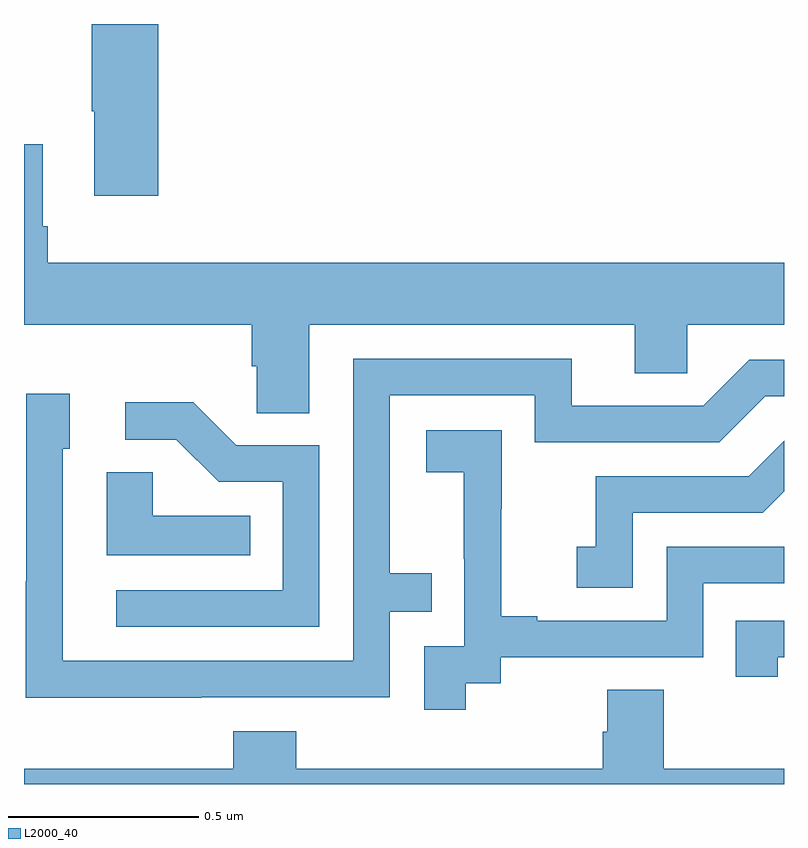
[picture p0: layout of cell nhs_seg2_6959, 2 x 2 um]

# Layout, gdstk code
import gdstk
lib = gdstk.Library(unit=1e-6, precision=1e-09)
def P(c, l, *ps):  # polygons
    for p in ps: c.add(gdstk.Polygon(p, *l))
L2000_40 = (2000, 40)

nhs_seg2_6959 = lib.new_cell('nhs_seg2_6959')
P(nhs_seg2_6959, L2000_40, [(198.353,609.8),(198.178,609.8),(198.178,609.571),(198.185,609.571),(198.185,609.348),(198.353,609.348)],
  [(198.751,609.008),(199.607,609.008),(199.607,608.881),(199.746,608.881),(199.746,609.008),(200,609.008),(200,609.172),(198.062,609.172),(198.062,609.268),(198.049,609.268),(198.049,609.484),(198,609.484),(198,609.008),(198.599,609.008),(198.599,608.899),(198.612,608.899),(198.612,608.776),(198.751,608.776)],
  [(198.467,608.028),(198.963,608.028),(198.963,608.253),(199.073,608.253),(199.073,608.354),(198.963,608.354),(198.963,608.823),(199.344,608.823),(199.344,608.7),(199.83,608.7),(199.95,608.82),(200,608.82),(200,608.916),(199.908,608.916),(199.788,608.796),(199.441,608.796),(199.441,608.919),(198.867,608.919),(198.867,608.124),(198.102,608.124),(198.102,608.682),(198.121,608.682),(198.121,608.827),(198.006,608.827),(198.006,608.333),(198.004,608.333),(198.004,608.027),(198.467,608.027)],
  [(198.777,608.691),(198.558,608.691),(198.445,608.804),(198.267,608.804),(198.267,608.706),(198.401,608.706),(198.512,608.595),(198.681,608.595),(198.681,608.31),(198.243,608.31),(198.243,608.214),(198.777,608.214)],
  [(199.162,608.065),(199.254,608.065),(199.254,608.133),(199.788,608.133),(199.788,608.328),(200,608.328),(200,608.424),(199.692,608.424),(199.692,608.229),(199.351,608.229),(199.351,608.242),(199.256,608.242),(199.256,608.525),(199.257,608.525),(199.257,608.731),(199.059,608.731),(199.059,608.621),(199.157,608.621),(199.157,608.393),(199.158,608.393),(199.158,608.163),(199.053,608.163),(199.053,607.995),(199.162,607.995)],
  [(199.602,608.514),(199.944,608.514),(200,608.57),(200,608.703),(199.907,608.61),(199.504,608.61),(199.504,608.425),(199.455,608.425),(199.455,608.316),(199.602,608.316)],
  [(198.596,608.506),(198.339,608.506),(198.339,608.621),(198.218,608.621),(198.218,608.402),(198.596,608.402)],
  [(199.984,608.133),(200,608.133),(200,608.229),(199.873,608.229),(199.873,608.082),(199.984,608.082)],
  [(200,607.84),(199.683,607.84),(199.683,608.048),(199.535,608.048),(199.535,607.938),(199.523,607.938),(199.523,607.84),(198.716,607.84),(198.716,607.939),(198.551,607.939),(198.551,607.84),(198,607.84),(198,607.8),(200,607.8)])

lib.write_gds('nhs_seg2_6959.gds')
